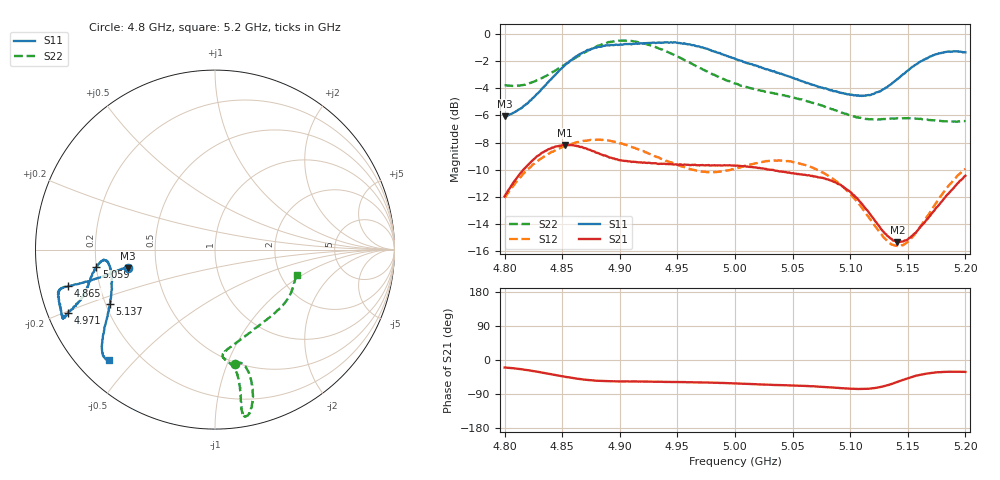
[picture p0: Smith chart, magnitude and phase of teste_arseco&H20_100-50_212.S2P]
! Network Analyzer HP8722D
! Hewlett-Packard
! Data name: Linha & Wilkinson
! Saver's name: Rodrigo Anjos
! Comments: Teste da utilização de aquisição
! continua pelo VNA HP8722D
! Time and date: 6/5/2025 14:20
!  Frequency  S11  S21  S12  S22
# HZ  S  MA R 50
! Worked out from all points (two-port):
!   401 points, 4.8 GHz to 5.2 GHz, reference 50 ohm
!   highest |S21| = -8.17 dB at 4.852 GHz (marker M1); lowest = -15.3 dB at 5.141 GHz (marker M2)
!   |S21| within 3 dB of the highest: 4.806 GHz to 5.093 GHz (286.6 MHz wide, 5.79 % of centre); 5.191422 GHz to end of sweep
!   lowest |S11| = -6.1 dB at 4.8 GHz (marker M3), VSWR 2.98, Z = 16.9 - j4.57 ohm
!   |S11| at or under -10 dB: nowhere
!   |S22| runs from -6.5 to -0.5 dB; largest |S21 - S12| = 0.62
!   S11 on the Smith chart (normalised r, x): 4.8 GHz: 0.34, -0.09; 4.865 GHz: 0.09, -0.12; 4.971 GHz: 0.06, -0.21; 5.059 GHz: 0.20, -0.07; 5.137 GHz: 0.22, -0.23; 5.2 GHz: 0.09, -0.42
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4.8e9  0.4975 -168.2  0.2525 -19.8  0.2492 -140.9  0.6477 -80.3
4.827e9  0.594 -167.2  0.3508 -30.1  0.3365 -144.9  0.6713 -75.5
4.852e9  0.764 -165.9  0.3904 -44.0  0.3862 -149.6  0.7683 -74.6
4.865e9  0.8419 -166.1  0.3841 -50.2  0.401 -151.9  0.8322 -75.3
4.867e9  0.8487 -165.9  0.3838 -51.0  0.4029 -152.2  0.8435 -75.4
4.88e9  0.8904 -165.6  0.3655 -54.7  0.4081 -154.3  0.8994 -76.8
4.9e9  0.9122 -162.8  0.343 -56.5  0.3956 -156.6  0.9431 -79.2
4.934e9  0.9294 -156.5  0.3322 -57.5  0.3512 -155.8  0.8823 -80.5
4.971e9  0.8917 -156.6  0.329 -59.4  0.3116 -146.5  0.7448 -79.7
5e9  0.8104 -159.1  0.3276 -61.9  0.3199 -137.2  0.6563 -81.3
5.035e9  0.723 -165.5  0.3137 -65.9  0.3422 -134.5  0.6021 -85.7
5.059e9  0.6683 -171.5  0.3033 -68.2  0.3309 -136.1  0.5708 -84.5
5.067e9  0.6499 -173.1  0.3005 -69.1  0.3226 -136.9  0.5575 -82.7
5.085e9  0.6157 -174.6  0.2864 -72.6  0.2931 -138.5  0.528 -75.8
5.102e9  0.5966 -171.8  0.2572 -76.0  0.2529 -138.8  0.498 -65.8
5.116e9  0.5957 -165.5  0.2211 -75.8  0.2121 -135.6  0.4852 -55.8
5.134e9  0.6465 -154.3  0.1784 -65.2  0.1702 -120.6  0.4872 -43.2
5.137e9  0.6614 -152.5  0.1739 -62.3  0.1675 -116.8  0.4883 -41.4
5.141e9  0.6818 -150.1  0.1715 -57.8  0.1658 -111.6  0.4893 -39.1
5.153e9  0.7504 -145.1  0.1798 -45.2  0.177 -96.2  0.4888 -32.8
5.172e9  0.8337 -139.2  0.2216 -33.7  0.2299 -81.2  0.4813 -24.6
5.2e9  0.8547 -133.7  0.3007 -31.5  0.319 -77.0  0.4782 -17.4
